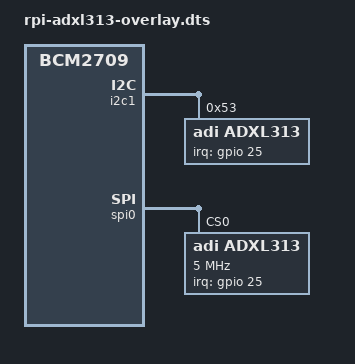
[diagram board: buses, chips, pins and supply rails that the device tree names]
/dts-v1/;
/plugin/;

/ {
	compatible = "brcm,bcm2708", "brcm,bcm2709";

	fragment@1 {
		target = <&i2c1>;
		__overlay__ {
			#address-cells = <1>;
			#size-cells = <0>;
			status = "okay";

			adxl313@053 {
				compatible = "adi,adxl313";
				reg = <0x53>;
				interrupt-parent = <&gpio>;
				interrupts = <25 2>;
			};
		};
	};

	fragment@0 {
		target = <&spi0>;
		__overlay__ {
			#address-cells = <1>;
			#size-cells = <0>;
			status = "okay";

			adxl313@0 {
				compatible = "adi,adxl313";
				reg = <0>;
				spi-max-frequency = <5000000>;
				spi-cpha;
				spi-cpol;
				interrupt-parent = <&gpio>;
				interrupts = <25 2>;
			};
		};
	};
};
